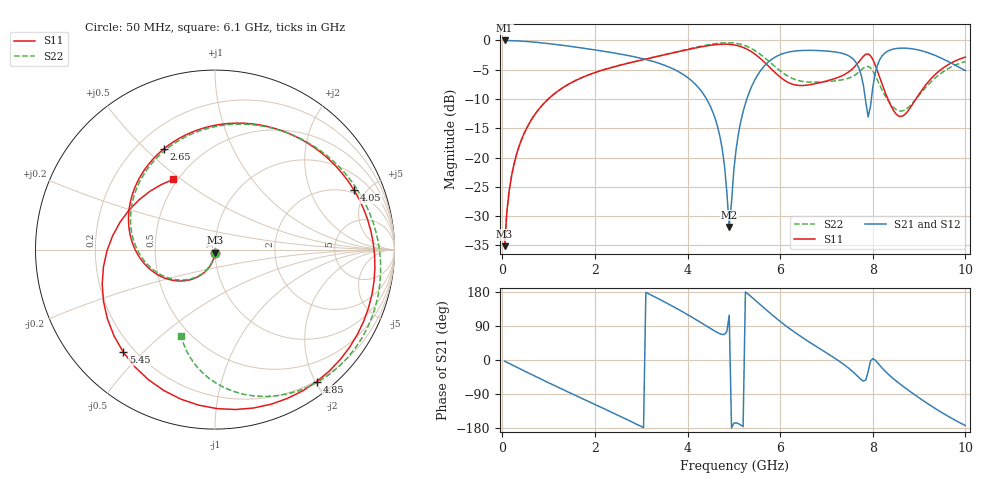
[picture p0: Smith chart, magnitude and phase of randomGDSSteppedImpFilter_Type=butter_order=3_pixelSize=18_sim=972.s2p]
! freq	dB(S11)	phase(S11)	dB(S12)	phase(S12)
!  dB(S21)	phase(S21)	dB(S22)	phase(S22)
!S-par simulation data
#  GHz  S  DB  R 50
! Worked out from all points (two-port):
!   200 points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, 50 MHz to 10 GHz, reference 50 ohm
!   highest |S21| = -0.01 dB at 50 MHz (marker M1); lowest = -31.9 dB at 4.9 GHz (marker M2)
!   |S21| within 3 dB of the highest: start of sweep to 2.971 GHz; 5.86 GHz to 7.552 GHz (1.693 GHz wide, 25.2 % of centre) (the widest 2 of 3)
!   lowest |S11| = -35.1 dB at 50 MHz (marker M3), VSWR 1.04, Z = 49.9 - j1.74 ohm
!   |S11| at or under -10 dB: start of sweep to 994 MHz; 8.326 GHz to 8.932 GHz (606.4 MHz wide, 7.03 % of centre)
!   |S22| runs from -35.1 to -0.4 dB; largest |S21 - S12| = 0
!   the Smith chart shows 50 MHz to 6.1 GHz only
!   S11 on the Smith chart (normalised r, x): 50 MHz: 1.00, -0.03; 2.65 GHz: 0.31, +0.57; 4.05 GHz: 1.80, +4.12; 4.85 GHz: 0.19, -2.02; 5.45 GHz: 0.16, -0.44; 6.1 GHz: 0.47, +0.47
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0.05  -35.14 -92.9  -0.01 -3.1  -0.01 -3.1  -35.11 -92.9
0.2  -23.14 -102.3  -0.04 -12.3  -0.04 -12.3  -23.15 -102.7
0.5  -15.40 -120.4  -0.17 -30.4  -0.17 -30.4  -15.42 -121.5
1.75  -6.24 167.9  -1.33 -103.1  -1.33 -103.1  -6.25 164.4
2.65  -4.02 116.7  -2.48 -154.6  -2.48 -154.6  -4.01 112.4
3.4  -2.64 70.2  -3.95 159.9  -3.95 159.9  -2.61 67.8
4.05  -1.49 23.2  -6.64 116.2  -6.64 116.2  -1.41 26.7
4.6  -0.73 -25.7  -13.43 75.6  -13.43 75.6  -0.55 -11.8
4.85  -0.64 -52.4  -26.06 75.5  -26.06 75.5  -0.40 -30.9
4.9  -0.67 -58.1  -31.85 118.3  -31.85 118.3  -0.40 -34.9
5.05  -0.84 -76.3  -18.53 -165.8  -18.53 -165.8  -0.50 -47.0
5.45  -2.31 -131.8  -6.79 159.1  -6.79 159.1  -1.71 -78.9
5.75  -4.41 -179.4  -3.65 127.0  -3.65 127.0  -3.53 -98.2
6.1  -6.84 120.7  -2.15 92.3  -2.15 92.3  -5.77 -111.6
6.7  -7.49 31.0  -1.70 41.8  -1.70 41.8  -7.13 -127.1
7.55  -4.93 -46.5  -2.99 -28.8  -2.99 -28.8  -6.20 162.2
7.85  -2.37 -90.0  -10.57 -52.7  -10.57 -52.7  -4.47 82.2
8  -3.24 -127.7  -8.04 3.8  -8.04 3.8  -5.21 22.9
8.35  -10.45 165.4  -1.72 -39.3  -1.72 -39.3  -10.50 -53.2
8.95  -9.78 41.4  -1.57 -95.6  -1.57 -95.6  -9.84 -63.1
9.45  -5.12 -13.1  -2.92 -135.7  -2.92 -135.7  -5.74 -86.8
10  -2.84 -53.9  -5.16 -173.1  -5.16 -173.1  -3.60 -121.0
